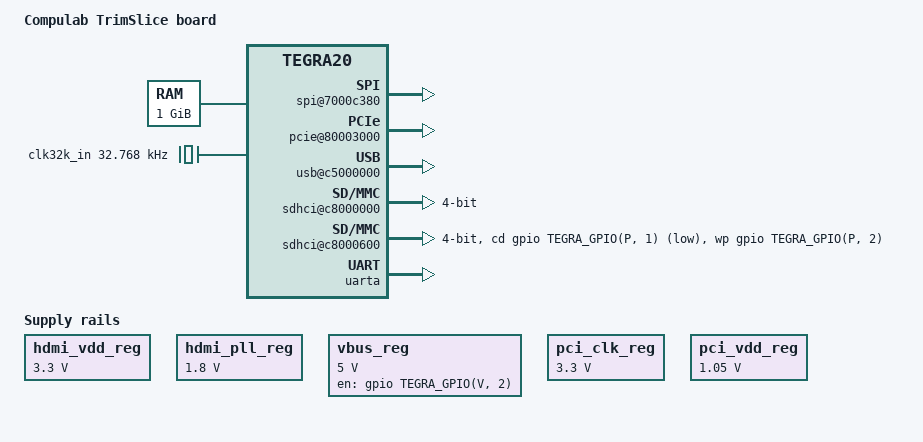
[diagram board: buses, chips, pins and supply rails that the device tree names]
/dts-v1/;

#include "tegra20.dtsi"

/ {
	model = "Compulab TrimSlice board";
	compatible = "compulab,trimslice", "nvidia,tegra20";

	chosen {
		stdout-path = &uarta;
	};

	aliases {
		usb0 = "/usb@c5000000";
		mmc0 = "/sdhci@c8000600";
		mmc1 = "/sdhci@c8000000";
		spi0 = "/spi@7000c380";
	};

	memory {
		reg = <0x00000000 0x40000000>;
	};

	serial@70006000 {
		clock-frequency = <216000000>;
	};

	spi@7000c380 {
		status = "okay";
		spi-max-frequency = <25000000>;
	};

	pcie@80003000 {
		status = "okay";

		avdd-pex-supply = <&pci_vdd_reg>;
		vdd-pex-supply = <&pci_vdd_reg>;
		avdd-pex-pll-supply = <&pci_vdd_reg>;
		avdd-plle-supply = <&pci_vdd_reg>;
		vddio-pex-clk-supply = <&pci_clk_reg>;

		pci@1,0 {
			status = "okay";
		};
	};

	usb@c5000000 {
		status = "okay";
		nvidia,vbus-gpio = <&gpio TEGRA_GPIO(V, 2) GPIO_ACTIVE_HIGH>;
	};

	sdhci@c8000000 {
		status = "okay";
		bus-width = <4>;
	};

	sdhci@c8000600 {
		status = "okay";
		cd-gpios = <&gpio TEGRA_GPIO(P, 1) GPIO_ACTIVE_LOW>;
		wp-gpios = <&gpio TEGRA_GPIO(P, 2) GPIO_ACTIVE_HIGH>;
		bus-width = <4>;
	};

	clocks {
		compatible = "simple-bus";
		#address-cells = <1>;
		#size-cells = <0>;

		clk32k_in: clock@0 {
			compatible = "fixed-clock";
			reg=<0>;
			#clock-cells = <0>;
			clock-frequency = <32768>;
		};
	};

	regulators {
		compatible = "simple-bus";
		#address-cells = <1>;
		#size-cells = <0>;

		hdmi_vdd_reg: regulator@0 {
			compatible = "regulator-fixed";
			reg = <0>;
			regulator-name = "avdd_hdmi";
			regulator-min-microvolt = <3300000>;
			regulator-max-microvolt = <3300000>;
			regulator-always-on;
		};

		hdmi_pll_reg: regulator@1 {
			compatible = "regulator-fixed";
			reg = <1>;
			regulator-name = "avdd_hdmi_pll";
			regulator-min-microvolt = <1800000>;
			regulator-max-microvolt = <1800000>;
			regulator-always-on;
		};

		vbus_reg: regulator@2 {
			compatible = "regulator-fixed";
			reg = <2>;
			regulator-name = "usb1_vbus";
			regulator-min-microvolt = <5000000>;
			regulator-max-microvolt = <5000000>;
			enable-active-high;
			gpio = <&gpio TEGRA_GPIO(V, 2) GPIO_ACTIVE_HIGH>;
			regulator-always-on;
			regulator-boot-on;
		};

		pci_clk_reg: regulator@3 {
			compatible = "regulator-fixed";
			reg = <3>;
			regulator-name = "pci_clk";
			regulator-min-microvolt = <3300000>;
			regulator-max-microvolt = <3300000>;
			regulator-always-on;
		};

		pci_vdd_reg: regulator@4 {
			compatible = "regulator-fixed";
			reg = <4>;
			regulator-name = "pci_vdd";
			regulator-min-microvolt = <1050000>;
			regulator-max-microvolt = <1050000>;
			regulator-always-on;
		};
	};

};

&uarta {
	status = "okay";
};
